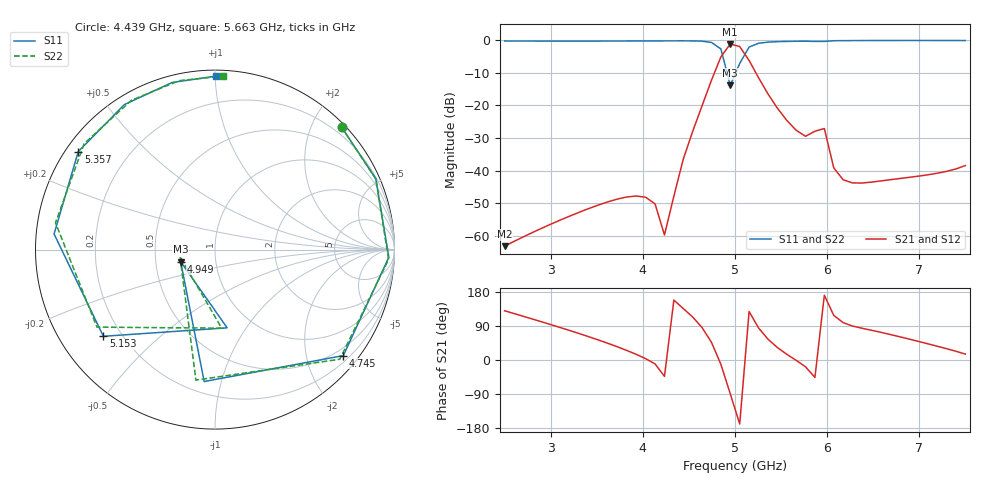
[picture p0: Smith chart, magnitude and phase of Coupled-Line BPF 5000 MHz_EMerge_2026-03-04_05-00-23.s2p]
! Generated by EMerge - 2-port S-parameters
! File generated: 2026-03-04 05:00
! --- Coupled-Line BPF 5000 MHz ---
! Substrate: RO4003C
! h = 0.508 mm
! W50 = 1.1 mm, Lfeed = 5 mm
! L1 = 8.93 mm, S1 = 0.1 mm, W1 = 0.76 mm
! L2 = 8.93 mm, S2 = 0.1 mm, W2 = 1.08 mm
! Run time = 0.89 min
# GHZ S RI R 50
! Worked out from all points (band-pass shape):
!   50 points, 2.5 GHz to 7.5 GHz, reference 50 ohm
!   highest |S21| = -1.13 dB at 4.949 GHz (marker M1); lowest = -63.2 dB at 2.5 GHz (marker M2)
!   |S21| within 3 dB of the highest: 4.872 GHz to 5.104 GHz (232.3 MHz wide, 4.66 % of centre)
!   lowest |S11| = -13.9 dB at 4.949 GHz (marker M3), VSWR 1.51, Z = 33.7 - j4.7 ohm
!   |S11| at or under -10 dB: 4.914 GHz to 5.007 GHz (93.42 MHz wide, 1.88 % of centre)
!   |S22| runs from -14.0 to 0.0 dB; largest |S21 - S12| = 0.00045
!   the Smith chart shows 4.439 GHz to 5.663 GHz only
!   S11 on the Smith chart (normalised r, x): 4.439 GHz: 0.07, +2.48; 4.745 GHz: 0.33, -2.75; 4.949 GHz: 0.67, -0.09; 5.153 GHz: 0.13, -0.34; 5.357 GHz: 0.04, +0.32; 5.663 GHz: 0.03, +1.01
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2.5  -0.7913 -0.57  -0.000443 0.000529  -0.000443 0.000529  -0.7901 -0.5717
3.010204  -0.9725 -0.0241  -7.21e-05 0.00152  -7.24e-05 0.00152  -0.9723 -0.026
3.418367  -0.8542 0.4655  0.00127 0.0023  0.00127 0.0023  -0.8551 0.4636
4.030612  -0.1303 0.9687  0.00388 0.000232  0.00388 0.000233  -0.1337 0.9681
4.132653  0.0585 0.9769  0.00303 -0.000558  0.00302 -0.000557  0.055 0.977
4.234694  0.2652 0.9433  0.000748 -0.000703  0.000743 -0.0007  0.2619 0.9441
4.438776  0.7063 0.681  -0.0107 0.0105  -0.0107 0.0105  0.7055 0.6814
4.642857  0.9685 -0.0428  0.00788 0.0989  0.0079 0.0989  0.9672 -0.0547
4.744898  0.715 -0.5905  0.168 0.1771  0.1681 0.1771  0.6955 -0.6109
4.846939  -0.0603 -0.7351  0.5458 -0.1103  0.5458 -0.1104  -0.1064 -0.727
4.94898  -0.1915 -0.0669  0.0079 -0.8785  0.0078 -0.8785  -0.1952 -0.0385
5.05102  0.0678 -0.4359  -0.7866 -0.1564  -0.7867 -0.1564  0.0372 -0.4377
5.153061  -0.622 -0.483  -0.3022 0.3872  -0.3023 0.3873  -0.6577 -0.432
5.255102  -0.8966 0.0871  0.024 0.2658  0.0241 0.266  -0.8887 0.1493
5.357143  -0.7616 0.5463  0.0861 0.1236  0.0862 0.1237  -0.729 0.5903
5.663265  0.00706 0.9666  0.0416 -0.000611  0.0417 -0.000598  0.042 0.9663
5.867347  0.4121 0.8691  0.0279 -0.0289  0.0282 -0.029  0.4369 0.8567
5.969388  0.5025 0.8197  -0.0437 0.00699  -0.0441 0.00688  0.5199 0.8078
6.071429  0.6728 0.72  -0.00514 0.00974  -0.00523 0.00979  0.6881 0.706
6.173469  0.7834 0.6017  -0.00108 0.00714  -0.0011 0.00718  0.7952 0.5867
6.683673  0.9928 -0.0478  0.00279 0.00667  0.00282 0.00666  0.9922 -0.0602
7.5  0.5183 -0.8447  0.0115 0.00321  0.0115 0.00305  0.512 -0.8486
